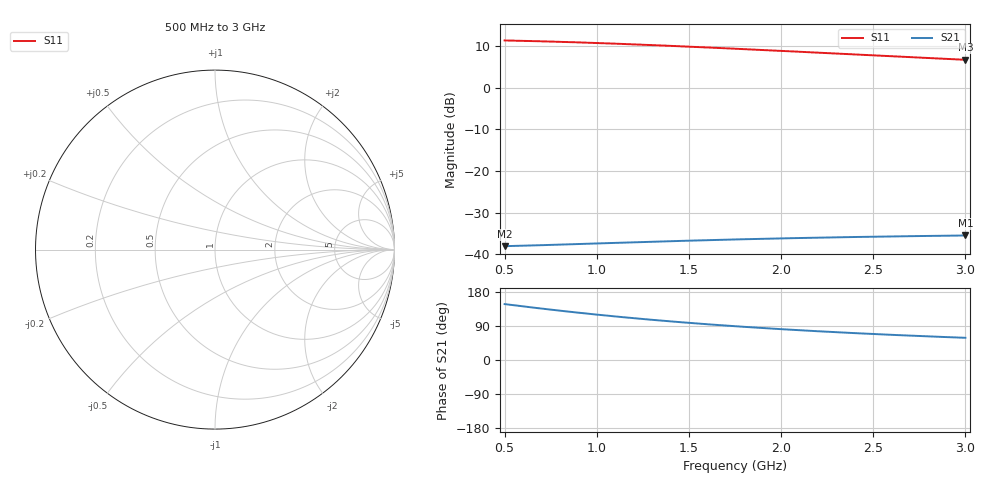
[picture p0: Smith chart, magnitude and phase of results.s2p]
! rfsim (KiCad + openEMS)
# HZ S RI R 50
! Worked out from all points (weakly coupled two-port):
!   251 points, 500 MHz to 3 GHz, reference 50 ohm
!   highest |S21| = -35.47 dB at 3 GHz (marker M1); lowest = -38.0 dB at 500 MHz (marker M2)
!   lowest |S11| = 6.7 dB at 3 GHz (marker M3)
!   |S11| at or under -10 dB: nowhere
!   S12 and S22 are empty: the file has one direction only
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5e8  -3.616 0.7579  -0.0106 0.00673  0 0  0 0
6.1e8  -3.536 0.9031  -0.00987 0.00802  0 0  0 0
7.1e8  -3.455 1.025  -0.00915 0.0091  0 0  0 0
8.2e8  -3.356 1.148  -0.00827 0.0102  0 0  0 0
9.2e8  -3.26 1.248  -0.00742 0.0111  0 0  0 0
1.02e9  -3.159 1.338  -0.00653 0.0119  0 0  0 0
1.13e9  -3.045 1.425  -0.00551 0.0126  0 0  0 0
1.23e9  -2.939 1.493  -0.00457 0.0132  0 0  0 0
1.34e9  -2.822 1.556  -0.00354 0.0138  0 0  0 0
1.44e9  -2.716 1.604  -0.00259 0.0142  0 0  0 0
1.54e9  -2.612 1.643  -0.00167 0.0146  0 0  0 0
1.64e9  -2.509 1.674  -0.000753 0.0149  0 0  0 0
1.75e9  -2.399 1.7  0.000225 0.0151  0 0  0 0
1.85e9  -2.301 1.717  0.00109 0.0152  0 0  0 0
1.95e9  -2.208 1.728  0.00192 0.0153  0 0  0 0
2.06e9  -2.108 1.734  0.0028 0.0154  0 0  0 0
2.17e9  -2.013 1.734  0.00365 0.0154  0 0  0 0
2.27e9  -1.931 1.73  0.00438 0.0154  0 0  0 0
2.38e9  -1.844 1.722  0.00515 0.0153  0 0  0 0
2.59e9  -1.691 1.696  0.00651 0.0151  0 0  0 0
2.79e9  -1.559 1.662  0.00767 0.0148  0 0  0 0
3e9  -1.435 1.62  0.00878 0.0144  0 0  0 0
